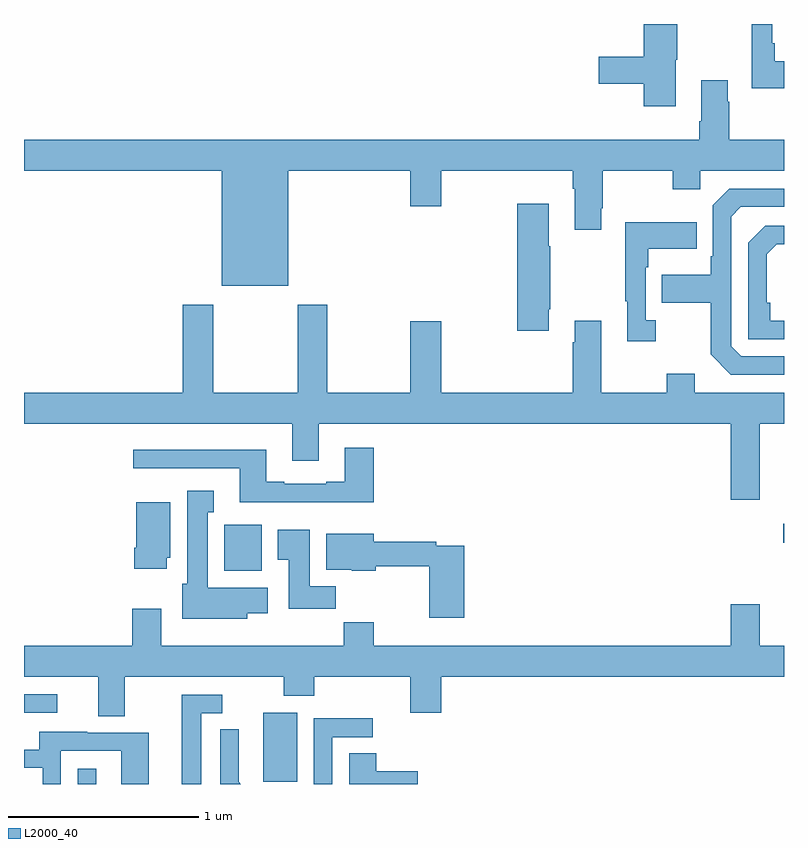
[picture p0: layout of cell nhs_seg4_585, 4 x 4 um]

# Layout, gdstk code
import gdstk
lib = gdstk.Library(unit=1e-6, precision=1e-09)
def R(c, l, rs):  # rectangles x0, y0, x1, y1
    for r in rs: c.add(gdstk.rectangle(r[:2], r[2:], *l))
def P(c, l, *ps):  # polygons
    for p in ps: c.add(gdstk.Polygon(p, *l))
L2000_40 = (2000, 40)

nhs_seg4_585 = lib.new_cell('nhs_seg4_585')
R(nhs_seg4_585, L2000_40, [(139.284,818.9,139.381,818.98), (140.258,818.913,140.437,819.274), (139,819.276,139.174,819.372), (140.054,820.022,140.251,820.264), (142.997,820.169,143,820.269)])
P(nhs_seg4_585, L2000_40, [(143,822.703),(142.951,822.703),(142.951,822.799),(142.938,822.799),(142.938,822.9),(142.83,822.9),(142.83,822.563),(143,822.563)],
  [(142.429,822.711),(142.437,822.711),(142.437,822.9),(142.262,822.9),(142.262,822.728),(142.026,822.728),(142.026,822.586),(142.262,822.586),(142.262,822.468),(142.429,822.468)],
  [(140.392,822.128),(141.032,822.128),(141.032,821.94),(141.196,821.94),(141.196,822.128),(141.887,822.128),(141.887,822.032),(141.899,822.032),(141.899,821.817),(142.039,821.817),(142.039,821.929),(142.047,821.929),(142.047,822.128),(142.414,822.128),(142.414,822.029),(142.56,822.029),(142.56,822.128),(143,822.128),(143,822.292),(142.713,822.292),(142.713,822.491),(142.705,822.491),(142.705,822.604),(142.565,822.604),(142.565,822.388),(142.553,822.388),(142.553,822.292),(139,822.292),(139,822.128),(140.042,822.128),(140.042,821.522),(140.392,821.522)],
  [(143,821.151),(142.776,821.151),(142.722,821.205),(142.722,821.886),(142.773,821.937),(143,821.937),(143,822.033),(142.713,822.033),(142.626,821.946),(142.626,821.677),(142.614,821.677),(142.614,821.581),(142.357,821.581),(142.357,821.434),(142.614,821.434),(142.614,821.161),(142.719,821.055),(143,821.055)],
  [(141.763,821.398),(141.771,821.398),(141.771,821.729),(141.763,821.729),(141.763,821.953),(141.596,821.953),(141.596,821.286),(141.763,821.286)],
  [(142.324,821.342),(142.272,821.342),(142.272,821.621),(142.285,821.621),(142.285,821.717),(142.541,821.717),(142.541,821.857),(142.164,821.857),(142.164,821.441),(142.175,821.441),(142.175,821.229),(142.324,821.229)],
  [(143,821.337),(142.928,821.337),(142.928,821.434),(142.908,821.434),(142.908,821.688),(142.961,821.741),(143,821.741),(143,821.838),(142.902,821.838),(142.812,821.748),(142.812,821.241),(143,821.241)],
  [(142.873,820.796),(143,820.796),(143,820.96),(142.531,820.96),(142.531,821.059),(142.384,821.059),(142.384,820.96),(142.039,820.96),(142.039,821.338),(141.899,821.338),(141.899,821.225),(141.887,821.225),(141.887,820.96),(141.196,820.96),(141.196,821.335),(141.032,821.335),(141.032,820.96),(140.595,820.96),(140.595,821.422),(140.44,821.422),(140.44,820.96),(139.995,820.96),(139.995,821.422),(139.835,821.422),(139.835,820.96),(139,820.96),(139,820.796),(140.411,820.796),(140.411,820.602),(140.551,820.602),(140.551,820.796),(142.721,820.796),(142.721,820.395),(142.873,820.395)],
  [(140.84,820.669),(140.687,820.669),(140.687,820.492),(140.591,820.492),(140.591,820.479),(140.371,820.479),(140.371,820.492),(140.275,820.492),(140.275,820.66),(139.575,820.66),(139.575,820.563),(140.135,820.563),(140.135,820.382),(140.84,820.382)],
  [(140.176,819.8),(140.284,819.8),(140.284,819.934),(139.966,819.934),(139.966,820.331),(139.999,820.331),(139.999,820.444),(139.859,820.444),(139.859,819.954),(139.832,819.954),(139.832,819.77),(140.176,819.77)],
  [(139.75,820.092),(139.771,820.092),(139.771,820.384),(139.592,820.384),(139.592,820.144),(139.58,820.144),(139.58,820.032),(139.75,820.032)],
  [(140.642,819.94),(140.503,819.94),(140.503,820.237),(140.336,820.237),(140.336,820.081),(140.393,820.081),(140.393,819.822),(140.642,819.822)],
  [(141.317,820.155),(141.17,820.155),(141.17,820.175),(140.842,820.175),(140.842,820.216),(140.591,820.216),(140.591,820.028),(140.724,820.028),(140.724,820.022),(140.85,820.022),(140.85,820.047),(141.134,820.047),(141.134,819.774),(141.317,819.774)],
  [(139.531,819.464),(140.368,819.464),(140.368,819.365),(140.528,819.365),(140.528,819.464),(141.032,819.464),(141.032,819.276),(141.196,819.276),(141.196,819.464),(143,819.464),(143,819.628),(142.873,819.628),(142.873,819.847),(142.721,819.847),(142.721,819.628),(140.84,819.628),(140.84,819.752),(140.683,819.752),(140.683,819.628),(139.723,819.628),(139.723,819.823),(139.571,819.823),(139.571,819.628),(139,819.628),(139,819.464),(139.391,819.464),(139.391,819.256),(139.531,819.256)],
  [(139.933,819.273),(140.044,819.273),(140.044,819.369),(139.829,819.369),(139.829,818.9),(139.933,818.9)],
  [(140.622,819.147),(140.836,819.147),(140.836,819.246),(140.526,819.246),(140.526,818.9),(140.622,818.9)],
  [(140.129,818.912),(140.129,819.034),(140.13,819.034),(140.13,819.188),(140.034,819.188),(140.034,818.9),(140.141,818.9)],
  [(139.194,819.075),(139.512,819.075),(139.512,818.9),(139.657,818.9),(139.657,819.171),(139.333,819.171),(139.333,819.175),(139.079,819.175),(139.079,819.081),(139,819.081),(139,818.985),(139.098,818.985),(139.098,818.9),(139.194,818.9)],
  [(141.073,818.967),(140.855,818.967),(140.855,819.062),(140.711,819.062),(140.711,818.9),(141.073,818.9)])

lib.write_gds('nhs_seg4_585.gds')
